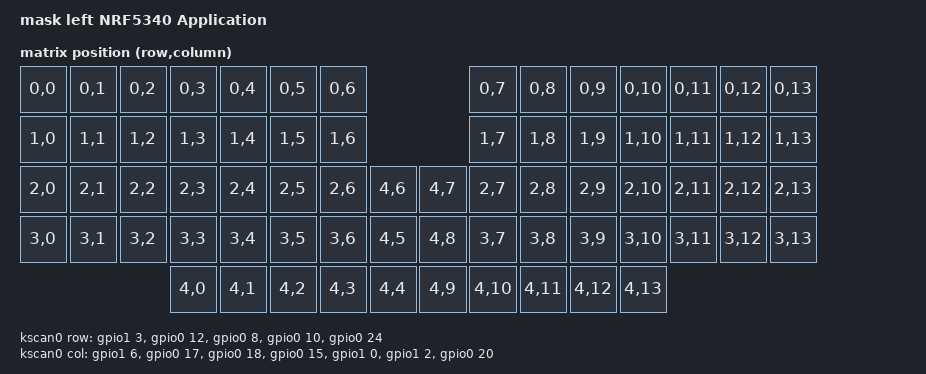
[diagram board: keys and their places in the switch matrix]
/*
 * Copyright (c) 2020 Nordic Semiconductor ASA
 *
 * SPDX-License-Identifier: Apache-2.0
 */

/dts-v1/;
#include <dt-bindings/zmk/matrix_transform.h>
#include <nordic/nrf5340_cpuapp_qkaa.dtsi>
#include "nrf5340_cpuapp_common.dts"
//#include "arduino_pro_micro_pins.dtsi"

/ {
	model = "mask left NRF5340 Application";
	compatible = "nordic,nrf5340-dk-nrf5340-cpuapp,mask-left";

	chosen {
		zephyr,sram = &sram0_image;
		zephyr,flash = &flash0;
		zephyr,code-partition = &slot0_partition;
		zephyr,sram-secure-partition = &sram0_s;
		zephyr,sram-non-secure-partition = &sram0_ns;
		zmk,kscan = &kscan0;
		zmk,matrix_transform = &default_transform;
        zmk,underglow = &led_strip;
	};



    default_transform: keymap_transform_0 {
        compatible = "zmk,matrix-transform";
        columns = <14>;
        rows = <5>;
        map = <
            RC(0,0) RC(0,1) RC(0,2) RC(0,3) RC(0,4) RC(0,5) RC(0,6)                 RC(0,7)  RC(0,8)  RC(0,9)  RC(0,10) RC(0,11) RC(0,12) RC(0,13)
            RC(1,0) RC(1,1) RC(1,2) RC(1,3) RC(1,4) RC(1,5) RC(1,6)                 RC(1,7)  RC(1,8)  RC(1,9)  RC(1,10) RC(1,11) RC(1,12) RC(1,13)
            RC(2,0) RC(2,1) RC(2,2) RC(2,3) RC(2,4) RC(2,5) RC(2,6) RC(4,6) RC(4,7) RC(2,7)  RC(2,8)  RC(2,9)  RC(2,10) RC(2,11) RC(2,12) RC(2,13)
            RC(3,0) RC(3,1) RC(3,2) RC(3,3) RC(3,4) RC(3,5) RC(3,6) RC(4,5) RC(4,8) RC(3,7)  RC(3,8)  RC(3,9)  RC(3,10) RC(3,11) RC(3,12) RC(3,13)
                                    RC(4,0) RC(4,1) RC(4,2) RC(4,3) RC(4,4) RC(4,9) RC(4,10) RC(4,11) RC(4,12) RC(4,13)
        >;


    };
    
    kscan0: kscan {
        compatible = "zmk,kscan-gpio-matrix";
        label = "KSCAN";
    
        diode-direction = "col2row";
        row-gpios
            = <&gpio1 3  (GPIO_ACTIVE_HIGH | GPIO_PULL_DOWN)>
            , <&gpio0 12 (GPIO_ACTIVE_HIGH | GPIO_PULL_DOWN)>
            , <&gpio0 8  (GPIO_ACTIVE_HIGH | GPIO_PULL_DOWN)>
            , <&gpio0 10 (GPIO_ACTIVE_HIGH | GPIO_PULL_DOWN)>
            , <&gpio0 24 (GPIO_ACTIVE_HIGH | GPIO_PULL_DOWN)>
            ;
        // mask-left
        col-gpios
            = <&gpio1 6  GPIO_ACTIVE_HIGH>
            , <&gpio0 17 GPIO_ACTIVE_HIGH>
            , <&gpio0 18 GPIO_ACTIVE_HIGH>
            , <&gpio0 15 GPIO_ACTIVE_HIGH>
            , <&gpio1 0  GPIO_ACTIVE_HIGH>
            , <&gpio1 2  GPIO_ACTIVE_HIGH>
            , <&gpio0 20 GPIO_ACTIVE_HIGH>
            ;
    };
};

&usbd {
	compatible = "nordic,nrf-usbd";
	status = "okay";
};

&spi1 {
    compatible = "nordic,nrf-spim";
    status = "okay";
    mosi-pin = <22>;
    miso-pin = <21>;    // unused
    sck-pin = <23>;     // unused

    led_strip: ws2812@0 {
        compatible = "worldsemi,ws2812-spi";
        label = "WS2812";

        // SPI
        reg = <0>;
        spi-max-frequency = <800000>;

        // WS2812
        chain-length = <3>;
        spi-one-frame = <0x70>;
        spi-zero-frame = <0x40>;
    };
};
